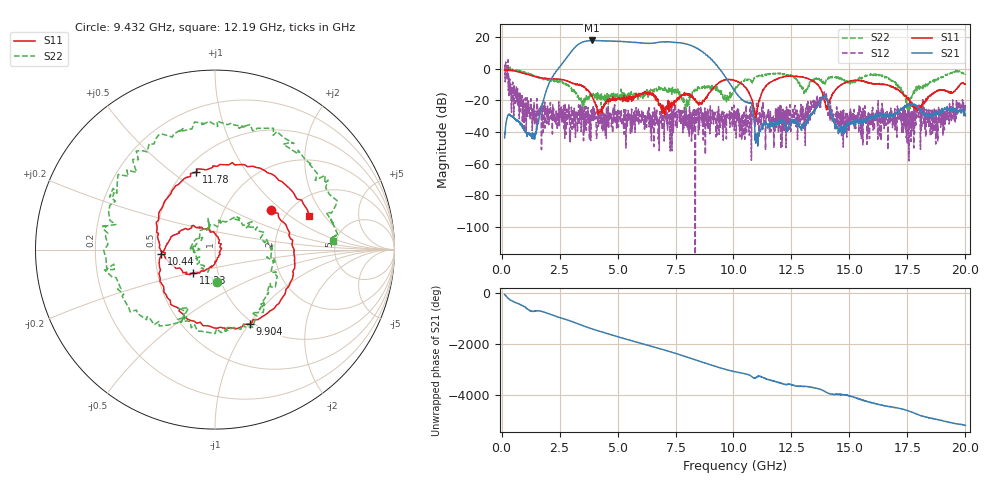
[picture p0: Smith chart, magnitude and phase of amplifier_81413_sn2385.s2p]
!Created with skrf (http://scikit-rf.org).
# GHz S RI R 50.0
!freq ReS11 ImS11 ReS21 ImS21 ReS12 ImS12 ReS22 ImS22
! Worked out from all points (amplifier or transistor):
!   1601 points, 130 MHz to 20 GHz, reference 50 ohm
!   highest |S21| = 17.9 dB at 3.88 GHz (marker M1)
!   |S21| within 3 dB of that: 3.26 GHz to 8.146 GHz (4.886 GHz wide, 85.7 % of centre)
!   unconditionally stable (mu >= 1): 300.4 MHz to 345.7 MHz; 393.6 MHz to 440 MHz; 546.7 MHz to end of sweep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
!   at 3.433 GHz: K = 6.43, MAG = 17.0 dB, |S12| = -39.6 dB
!   at 10.06 GHz: K = 41.89, MAG = -13.1 dB, |S12| = -26.5 dB
!   at 20 GHz: K = 238.04, MAG = -27.0 dB, |S12| = -29.3 dB
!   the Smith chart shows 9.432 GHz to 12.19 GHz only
!   S11 on the Smith chart (normalised r, x): 9.432 GHz: 1.64, +0.84; 9.904 GHz: 0.96, -1.01; 10.44 GHz: 0.54, -0.03; 11.23 GHz: 0.76, -0.20; 11.78 GHz: 0.57, +0.62; 12.19 GHz: 2.63, +1.45
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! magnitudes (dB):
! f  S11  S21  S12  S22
! 130 MHz  -1.0  -43.8  2.6  -1.0
! 366 MHz  -0.6  -28.7  -11.2  1.1
! 1.397 GHz  -4.7  -43.0  -21.4  -4.3
! 2.117 GHz  -6.2  -7.0  -28.9  -7.4
! 3.446 GHz  -10.6  16.6  -24.2  -19.3
! 3.88 GHz  -17.3  17.9  -30.0  -16.2
! 4.216 GHz  -27.5  17.7  -34.6  -18.0
! 6.762 GHz  -22.6  16.7  -44.6  -12.8
! 9.432 GHz  -8.4  -0.8  -37.0  -14.7
! 9.904 GHz  -6.8  -10.8  -28.3  -17.9
! 10.06 GHz  -7.3  -14.1  -26.5  -13.5
! 10.44 GHz  -10.4  -20.1  -33.9  -7.7
! 10.95 GHz  -28.5  -41.4  -33.8  -5.5
! 11.23 GHz  -15.0  -36.5  -24.6  -4.1
! 11.78 GHz  -7.1  -35.1  -32.3  -3.2
! 12.19 GHz  -5.1  -35.0  -29.4  -3.6
! 13.38 GHz  -7.5  -29.2  -24.3  -6.9
! 14.04 GHz  -23.7  -19.9  -18.8  -6.0
! 14.62 GHz  -10.2  -37.4  -26.7  -5.6
! 16.7 GHz  -10.4  -29.3  -30.7  -5.9
! 17.54 GHz  -19.4  -22.5  -30.4  -24.3
! 20 GHz  -9.7  -29.8  -29.3  -3.9
